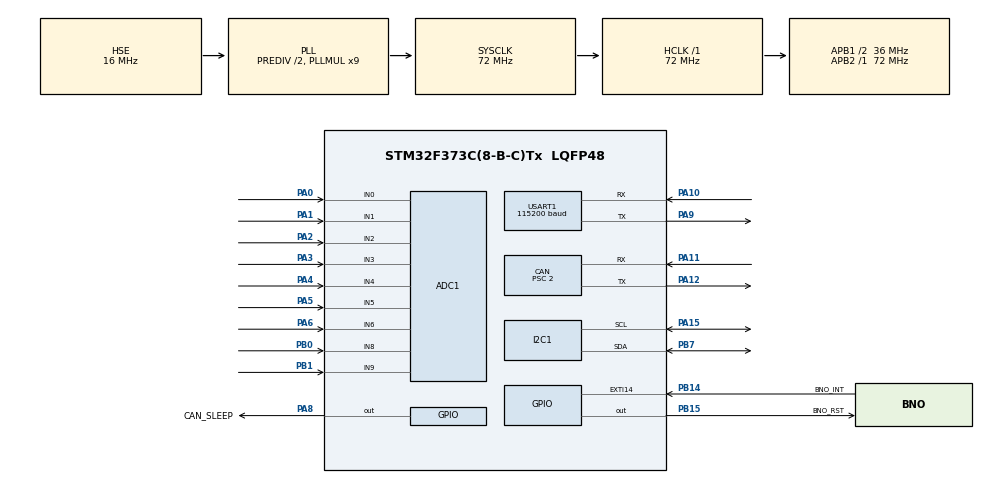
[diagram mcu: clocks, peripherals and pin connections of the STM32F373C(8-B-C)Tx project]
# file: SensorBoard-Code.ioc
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ADC1.Channel-0\#ChannelRegularConversion=ADC_CHANNEL_0
ADC1.Channel-1\#ChannelRegularConversion=ADC_CHANNEL_1
ADC1.Channel-2\#ChannelRegularConversion=ADC_CHANNEL_2
ADC1.Channel-3\#ChannelRegularConversion=ADC_CHANNEL_3
ADC1.Channel-4\#ChannelRegularConversion=ADC_CHANNEL_4
ADC1.Channel-5\#ChannelRegularConversion=ADC_CHANNEL_5
ADC1.Channel-6\#ChannelRegularConversion=ADC_CHANNEL_6
ADC1.Channel-7\#ChannelRegularConversion=ADC_CHANNEL_8
ADC1.ContinuousConvMode=ENABLE
ADC1.NbrOfConversion=8
ADC1.NbrOfConversionFlag=1
ADC1.Rank-0\#ChannelRegularConversion=1
ADC1.Rank-1\#ChannelRegularConversion=2
ADC1.Rank-2\#ChannelRegularConversion=3
ADC1.Rank-3\#ChannelRegularConversion=4
ADC1.Rank-4\#ChannelRegularConversion=5
ADC1.Rank-5\#ChannelRegularConversion=6
ADC1.Rank-6\#ChannelRegularConversion=7
ADC1.Rank-7\#ChannelRegularConversion=8
ADC1.SamplingTime-0\#ChannelRegularConversion=ADC_SAMPLETIME_1CYCLE_5
ADC1.SamplingTime-1\#ChannelRegularConversion=ADC_SAMPLETIME_1CYCLE_5
ADC1.SamplingTime-2\#ChannelRegularConversion=ADC_SAMPLETIME_1CYCLE_5
ADC1.SamplingTime-3\#ChannelRegularConversion=ADC_SAMPLETIME_1CYCLE_5
ADC1.SamplingTime-4\#ChannelRegularConversion=ADC_SAMPLETIME_1CYCLE_5
ADC1.SamplingTime-5\#ChannelRegularConversion=ADC_SAMPLETIME_1CYCLE_5
ADC1.SamplingTime-6\#ChannelRegularConversion=ADC_SAMPLETIME_1CYCLE_5
ADC1.SamplingTime-7\#ChannelRegularConversion=ADC_SAMPLETIME_1CYCLE_5
ADC1.master=1
CAN.ABOM=DISABLE
CAN.AWUM=ENABLE
CAN.BS1=CAN_BS1_15TQ
CAN.BS2=CAN_BS2_2TQ
CAN.CalculateBaudRate=1000000
CAN.CalculateTimeBit=1000
CAN.CalculateTimeQuantum=55.55555555555556
CAN.Mode=CAN_MODE_NORMAL
CAN.NART=ENABLE
CAN.Prescaler=2
Dma.ADC1.0.Direction=DMA_PERIPH_TO_MEMORY
Dma.ADC1.0.Instance=DMA1_Channel1
Dma.ADC1.0.MemDataAlignment=DMA_MDATAALIGN_HALFWORD
Dma.ADC1.0.MemInc=DMA_MINC_ENABLE
Dma.ADC1.0.Mode=DMA_CIRCULAR
Dma.ADC1.0.PeriphDataAlignment=DMA_PDATAALIGN_HALFWORD
Dma.ADC1.0.PeriphInc=DMA_PINC_DISABLE
Dma.ADC1.0.Priority=DMA_PRIORITY_LOW
Dma.Request0=ADC1
Mcu.Family=STM32F3
Mcu.Name=STM32F373C(8-B-C)Tx
Mcu.Package=LQFP48
NVIC.CAN_RX0_IRQn=true\:0\:0\:false\:false\:true\:true\:true\:true
NVIC.DMA1_Channel1_IRQn=true\:0\:0\:false\:false\:true\:false\:true\:true
NVIC.EXTI15_10_IRQn=true\:0\:0\:false\:false\:true\:true\:true\:true
NVIC.PriorityGroup=NVIC_PRIORITYGROUP_4
PA0.Mode=IN0
PA0.Signal=ADC1_IN0
PA1.Mode=IN1
PA1.Signal=ADC1_IN1
PA10.Mode=Asynchronous
PA10.Signal=USART1_RX
PA11.Mode=CAN_Activate
PA11.Signal=CAN_RX
PA12.Mode=CAN_Activate
PA12.Signal=CAN_TX
PA13.Mode=Serial_Wire
PA13.Signal=SYS_JTMS-SWDIO
PA14.Mode=Serial_Wire
PA14.Signal=SYS_JTCK-SWCLK
PA15.Mode=I2C
PA15.Signal=I2C1_SCL
PA2.Mode=IN2
PA2.Signal=ADC1_IN2
PA3.Mode=IN3
PA3.Signal=ADC1_IN3
PA4.Mode=IN4
PA4.Signal=ADC1_IN4
PA5.Mode=IN5
PA5.Signal=ADC1_IN5
PA6.Mode=IN6
PA6.Signal=ADC1_IN6
PA8.GPIO_Label=CAN_SLEEP
PA8.GPIO_PuPd=GPIO_PULLDOWN
PA8.Signal=GPIO_Output
PA9.Mode=Asynchronous
PA9.Signal=USART1_TX
PB0.Mode=IN8
PB0.Signal=ADC1_IN8
PB1.Mode=IN9
PB1.Signal=ADC1_IN9
PB14.GPIO_Label=BNO_INT
PB14.GPIO_ModeDefaultEXTI=GPIO_MODE_IT_FALLING
PB14.GPIO_PuPd=GPIO_PULLUP
PB14.Signal=GPXTI14
PB15.GPIO_Label=BNO_RST
PB15.Signal=GPIO_Output
PB7.Mode=I2C
PB7.Signal=I2C1_SDA
PF0-OSC_IN.Mode=HSE-External-Oscillator
PF0-OSC_IN.Signal=RCC_OSC_IN
PF1-OSC_OUT.Mode=HSE-External-Oscillator
PF1-OSC_OUT.Signal=RCC_OSC_OUT
ProjectManager.HeapSize=0x200
ProjectManager.StackSize=0x400
ProjectManager.TargetToolchain=CMake
RCC.AHBFreq_Value=72000000
RCC.APB1CLKDivider=RCC_HCLK_DIV2
RCC.APB1Freq_Value=36000000
RCC.APB1TimFreq_Value=72000000
RCC.APB2Freq_Value=72000000
RCC.APB2TimFreq_Value=72000000
RCC.CortexFreq_Value=72000000
RCC.HCLKFreq_Value=72000000
RCC.HSE_VALUE=16000000
RCC.HSI_VALUE=8000000
RCC.LSE_VALUE=32768
RCC.PLLMUL=RCC_PLL_MUL9
RCC.PLLSourceVirtual=RCC_PLLSOURCE_HSE
RCC.RCC_PLLsource_Clock_Source_FROM_HSE=RCC_HSE_PREDIV_DIV2
RCC.SYSCLKFreq_VALUE=72000000
RCC.SYSCLKSource=RCC_SYSCLKSOURCE_PLLCLK
RCC.USBFreq_Value=72000000
USART1.BaudRate=115200
USART1.VirtualMode-Asynchronous=VM_ASYNC
VP_TIM2_VS_ClockSourceINT.Mode=Internal
board=custom

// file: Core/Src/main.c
/* USER CODE BEGIN Header */
/**
 ******************************************************************************
 * @file           : main.c
 * @brief          : Main program body
 ******************************************************************************
 * @attention
 *
 * Copyright (c) 2024 STMicroelectronics.
 * All rights reserved.
 *
 * This software is licensed under terms that can be found in the LICENSE file
 * in the root directory of this software component.
 * If no LICENSE file comes with this software, it is provided AS-IS.
 *
 ******************************************************************************
 */
/* USER CODE END Header */
#include "main.h"
#include "adc.h"
#include "can.h"
#include "dma.h"
#include "gpio.h"
#include "i2c.h"
#include "tim.h"
#include "usart.h"

/* USER CODE BEGIN Includes */
#include "AS5600.h"
#include "BNO_08X_I2C.h"
#include <stdbool.h>
#include <stdint.h>
#include <stdio.h>
#include <string.h>

/* USER CODE END Includes */

/* USER CODE BEGIN PTD */
typedef struct {
  uint16_t adc_pin;
  uint32_t sample_rate_ms;
  uint32_t last_sample_time;
} ADC_Sample_Config_t;

typedef struct {
  uint8_t sensor_id;
  uint32_t sample_rate_ms;
} IMU_Sample_Config_t;
/* USER CODE END PTD */

/* USER CODE BEGIN PD */
PUTCHAR_PROTOTYPE {
  HAL_UART_Transmit(&huart1, (uint8_t *)&ch, 1, HAL_MAX_DELAY);
  return ch;
}

#define NUM_ADC_CHANNELS 8
#define AVG_PER_CHANNEL 4
#define ADC_BIT_RESOLUTION 12

// Use fixed-point scaling for IMU data (3 decimal places of precision)
#define IMU_DATA_SCALE_FACTOR 1000.0f

#define SAMPLE_PERIOD_100HZ_MS 10
#define SAMPLE_PERIOD_50HZ_MS 20
#define SAMPLE_PERIOD_5HZ_MS 200

#define CAN_ID 0x400
#define CAN_ID_SECONDARY 0x401
#define CAN_FRAME_SIZE 8
#define NUM_CAN_SIGNALS 5
#define NUM_CAN_SIGNALS_SECONDARY 1

/* USER CODE END PD */

/* USER CODE BEGIN PM */
#define ADC_PIN_VALID(pin) ((pin) >= 0 && (pin) < NUM_ADC_CHANNELS)
/* USER CODE END PM */

/* USER CODE BEGIN PV */

static __attribute__((
    aligned(4))) uint16_t ADC_DMA_BUFF[NUM_ADC_CHANNELS * AVG_PER_CHANNEL];

/*
ADC + IMU CAN FRAME DEFINITION
MUX'd ADC Data Frame for 8 Channels (12 bits each) + IMU Accelerometer and
Gyroscope Data (16 bits each)

Bits 0-3: Mux Nibble

Mux 0:
  Bits 4-15: ADC Channel 1 (12 bits)
  Bits 16-27: ADC Channel 2 (12 bits)
  Bits 28-39: ADC Channel 3 (12 bits)
  Bits 40-51: ADC Channel 4 (12 bits)
  Bits 52-63: ADC Channel 5 (12 bits)

Mux 1:
  Bits 4-15: ADC Channel 6 (12 bits)
  Bits 16-27: ADC Channel 7 (12 bits)
  Bits 28-39: ADC Channel 8 (12 bits)

Mux 2:
  Bits 4-19: Accelerometer X (16 bits)
  Bits 20-35: Accelerometer Y (16 bits)
  Bits 36-51: Accelerometer Z (16 bits)

Mux 3:
  Bits 4-19: Gyroscope X (16 bits)
  Bits 20-35: Gyroscope Y (16 bits)
  Bits 36-51: Gyroscope Z (16 bits)
*/
CAN_TxHeaderTypeDef TxHeader;
uint8_t TxData[CAN_FRAME_SIZE] = {0};
uint8_t MsgBuffers[NUM_CAN_SIGNALS][CAN_FRAME_SIZE] = {{0}};
bool msgPending[NUM_CAN_SIGNALS] = {false};

/*
 * Secondary CAN Frame for additional data
 * Currently needs to be used for the rotation vector
 *
 * Bits 0-15: Rotation Vector I (16 bits)
 * Bits 16-31: Rotation Vector J (16 bits)
 * Bits 32-47: Rotation Vector K (16 bits)
 * Bits 48-63: Rotation Vector R (16 bits)
 */
CAN_TxHeaderTypeDef TxHeaderSecondary;
uint8_t TxDataSecondary[CAN_FRAME_SIZE] = {0};
uint8_t MsgBuffersSecondary[NUM_CAN_SIGNALS_SECONDARY][CAN_FRAME_SIZE] = {{0}};
bool msgPendingSecondary[NUM_CAN_SIGNALS_SECONDARY] = {false};

uint32_t TxMailbox;
uint16_t last_adc_values[NUM_ADC_CHANNELS] = {0};
volatile uint8_t BNO_Ready = 0;

/*
 * ADC Channel Configuration
 * ADCs are named weirdly on the board, so I'm using 0-7 for clarity
 * ADC 0 = Channel 0, ADC 1 = Channel 1, etc.
 */
ADC_Sample_Config_t adc_configs[] = {
    {0, SAMPLE_PERIOD_100HZ_MS, 0}, {1, SAMPLE_PERIOD_100HZ_MS, 0},
    {2, SAMPLE_PERIOD_100HZ_MS, 0}, {3, SAMPLE_PERIOD_100HZ_MS, 0},
    {4, SAMPLE_PERIOD_100HZ_MS, 0}, {5, SAMPLE_PERIOD_100HZ_MS, 0},
    {6, SAMPLE_PERIOD_100HZ_MS, 0}, {7, SAMPLE_PERIOD_100HZ_MS, 0}};

/**
 * IMU Channel Configuration
 */
IMU_Sample_Config_t imu_configs[] = {
    {ACCELEROMETER, SAMPLE_PERIOD_50HZ_MS},
    {GYROSCOPE_CALIBRATED, SAMPLE_PERIOD_50HZ_MS},
    {ROTATION_VECTOR, SAMPLE_PERIOD_50HZ_MS}};
/* USER CODE END PV */

void SystemClock_Config(void);

/* USER CODE BEGIN 0 */

/** INTERRUPT HANDLERS **/
void HAL_GPIO_EXTI_Callback(uint16_t GPIO_Pin) {
  if (GPIO_Pin == BNO_INT_Pin) {
    BNO_Ready = 1;
  }
}

/** ADC HANDLING **/

/**
 * @brief Averages an ADC channel over the DMA buffer, achieves better
 * resolution
 * @param ADC_PIN - ADC channel pin
 * @retval uint16_t - averaged ADC DMA value on success, -1 if invalid pin
 */
uint16_t ADC_DMA_AVG(uint16_t ADC_Pin) {
  assert_param(ADC_PIN_VALID(ADC_Pin));

  int channel;
  int i;
  uint32_t adc_sum;

  channel = ADC_Pin;

  adc_sum = 0;
  for (i = 0; i < AVG_PER_CHANNEL; i++) {
    adc_sum += ADC_DMA_BUFF[(i * NUM_ADC_CHANNELS) + channel];
  }

  return adc_sum / AVG_PER_CHANNEL;
}

/**
 * @brief Helper function to pack a 12-bit ADC value into the CAN buffer
 * @param buffer - Pointer to buffer (Mux0 or Mux1)
 * @param adc_value - 12-bit ADC value to pack
 * @param channel_index - Channel index (0-7, relative to start of frame)
 */
static void PackADCValue(uint8_t *buffer, uint16_t adc_value,
                         uint8_t channel_index) {
  // Only use 12 bits of ADC value
  adc_value &= 0x0FFF;

  // Calculate bit position (4 bits for mux nibble + 12 bits per channel)
  uint8_t bit_position = 4 + (channel_index * ADC_BIT_RESOLUTION);
  uint8_t byte_index = bit_position / 8;
  uint8_t bit_offset = bit_position % 8;
  uint8_t bits_in_first_byte = 8 - bit_offset;

  // Clear bits and set new value in first byte
  buffer[byte_index] &= ~(0xFF << bit_offset);
  buffer[byte_index] |= (adc_value << bit_offset);

  // Clear bits and set new value in second byte
  buffer[byte_index + 1] &= ~(0xFF >> bits_in_first_byte);
  buffer[byte_index + 1] |= (adc_value >> bits_in_first_byte);
}

/**
 * @brief Sends pending CAN messages
 * @retval bool - true if no pending messages
 */
/**
 * @brief Packages ADC values into CAN packet
 * @param ADC_PIN - ADC channel pin
 * @retval bool - true on success
 */
bool ADC_CAN_Package(uint16_t ADC_Pin) {
  assert_param(ADC_PIN_VALID(ADC_Pin));

  uint16_t adc_val;
  uint8_t mux_val;
  uint8_t channel;
  uint8_t *MuxBuffer;

  channel = ADC_Pin;

  // Sample channel and store value
  adc_val = ADC_DMA_AVG(ADC_Pin);
  last_adc_values[channel] = adc_val;

  // Set mux value and select appropriate buffer
  mux_val = (channel < 6) ? 0 : 1;
  MuxBuffer = (mux_val == 0) ? MsgBuffers[0] : MsgBuffers[1];

  // Clear only the mux nibble in first byte
  MuxBuffer[0] &= 0xF0;

  // Set first nibble to mux value
  MuxBuffer[0] |= mux_val;

  if (mux_val == 0) {
    // Set all ADC values for mux 0
    for (int i = 0; i < 5; i++) {
      PackADCValue(MuxBuffer, last_adc_values[i], i);
    }
    msgPending[0] = true;
  } else {
    // Set all ADC values for mux 1
    for (int i = 5; i < NUM_ADC_CHANNELS; i++) {
      PackADCValue(MuxBuffer, last_adc_values[i], i - 5);
    }
    msgPending[1] = true;
  }

  return true;
}

void Wheel_CAN_Package(bool valid, uint16_t wheel_angle,
                       uint8_t *data_package) {
  data_package[0] = ((wheel_angle & 0x000F) << 4) | 4;
  data_package[1] = valid << 7 | ((wheel_angle & 0x7F0) >> 3);
}

/** IMU HANDLING **/

/**
 * @brief Packages Accelerometer and Gyroscope IMU values into 8-byte buffer
 * @param buffer - Pointer to buffer (expected 8 bytes)
 * @param x - X-axis value
 * @param y - Y-axis value
 * @param z - Z-axis value
 * @retval bool - true on success
 */
void IMU_PackAccelGyro(uint8_t *buffer, float x, float y, float z) {
  assert_param(buffer != NULL);

  // Convert to 16-bit integer
  int16_t x_int = (int16_t)(x * IMU_DATA_SCALE_FACTOR);
  int16_t y_int = (int16_t)(y * IMU_DATA_SCALE_FACTOR);
  int16_t z_int = (int16_t)(z * IMU_DATA_SCALE_FACTOR);

  // Clear buffer
  memset(buffer, 0, 6);

  // Pack into buffer, leaving first 4 bits for mux nibble
  buffer[0] |= (x_int & 0x000F) << 4; // Lower 4 bits
  buffer[1] = (x_int >> 4) & 0xFF;    // Middle 12 bits
  buffer[2] = (x_int >> 12) & 0x0F;   // Upper 4 bits

  buffer[2] |= (y_int & 0x000F) << 4;
  buffer[3] = (y_int >> 4) & 0xFF;
  buffer[4] = (y_int >> 12) & 0x0F;

  buffer[4] |= (z_int & 0x000F) << 4;
  buffer[5] = (z_int >> 4) & 0xFF;
  buffer[6] = (z_int >> 12) & 0x0F;
}

/**
 * @brief Packages Rotation Vector IMU values into 8-byte buffer
 * @param buffer - Pointer to buffer (expected 8 bytes)
 * @param i - I-axis value
 * @param j - J-axis value
 * @param k - K-axis value
 * @param r - R-axis value
 * @retval bool - true on success
 */
void IMU_PackRotationVector(uint8_t *buffer, float i, float j, float k,
                            float r) {
  assert_param(buffer != NULL);

  // Convert to 16-bit integer
  int16_t i_int = (int16_t)(i * IMU_DATA_SCALE_FACTOR);
  int16_t j_int = (int16_t)(j * IMU_DATA_SCALE_FACTOR);
  int16_t k_int = (int16_t)(k * IMU_DATA_SCALE_FACTOR);
  int16_t r_int = (int16_t)(r * IMU_DATA_SCALE_FACTOR);

  // Pack into buffer (little-endian)
  buffer[0] = i_int & 0xFF;
  buffer[1] = (i_int >> 8) & 0xFF;
  buffer[2] = j_int & 0xFF;
  buffer[3] = (j_int >> 8) & 0xFF;
  buffer[4] = k_int & 0xFF;
  buffer[5] = (k_int >> 8) & 0xFF;
  buffer[6] = r_int & 0xFF;
  buffer[7] = (r_int >> 8) & 0xFF;
}

/**
 * @brief Packages IMU values into CAN packet
 * @param sensor_id - Sensor ID (ACCELEROMETER, GYROSCOPE_CALIBRATED, etc.)
 * @param sensor_data - Pointer to sensor data
 * @retval bool - true on success
 */
bool IMU_CAN_Package(uint8_t sensor_id, BNO_SensorValue_t *sensor_data) {
  uint8_t *MuxBuffer;
  uint8_t mux_val;

  switch (sensor_id) {
  case ACCELEROMETER:
    mux_val = 2;
    MuxBuffer = MsgBuffers[2];
    IMU_PackAccelGyro(MuxBuffer, sensor_data->SenVal.Accelerometer.X,
                      sensor_data->SenVal.Accelerometer.Y,
                      sensor_data->SenVal.Accelerometer.Z);
    // Shift values down to make room for mux nibble
    MuxBuffer[0] &= 0xF0;    // Clear lower 4 bits
    MuxBuffer[0] |= mux_val; // Set mux value
    msgPending[2] = true;
    break;
  case GYROSCOPE_CALIBRATED:
    mux_val = 3;
    MuxBuffer = MsgBuffers[3];
    IMU_PackAccelGyro(MuxBuffer, sensor_data->SenVal.Gyroscope.X,
                      sensor_data->SenVal.Gyroscope.Y,
                      sensor_data->SenVal.Gyroscope.Z);
    // Shift values down to make room for mux nibble
    MuxBuffer[0] &= 0xF0;    // Clear lower 4 bits
    MuxBuffer[0] |= mux_val; // Set mux value
    msgPending[3] = true;
    break;
  case ROTATION_VECTOR:
    MuxBuffer = MsgBuffersSecondary[0];
    IMU_PackRotationVector(MuxBuffer, sensor_data->SenVal.RotationVector.I,
                           sensor_data->SenVal.RotationVector.J,
                           sensor_data->SenVal.RotationVector.K,
                           sensor_data->SenVal.RotationVector.Real);
    msgPendingSecondary[0] = true;
    break;
  default:
    return false;
  }

  return true;
}

/**
 * @brief Sets IMU reports for all sensors
 */
void setIMUReports(void) {
  for (unsigned int i = 0; i < sizeof(imu_configs) / sizeof(imu_configs[0]);
       i++) {
    if (BNO_setFeature(imu_configs[i].sensor_id,
                       imu_configs[i].sample_rate_ms * 1000, 0) == HAL_OK) {
      printf("Set report for sensor %d at %d Hz\r\n", imu_configs[i].sensor_id,
             1000 / imu_configs[i].sample_rate_ms);
    } else {
      printf("Failed to set report for sensor %d at %d Hz\r\n",
             imu_configs[i].sensor_id, 1000 / imu_configs[i].sample_rate_ms);
    }
  }
}

/** CAN HANDLING **/

/**
 * @brief Sends pending CAN messages
 * @retval bool - true if no pending messages
 */
bool SendPendingCANMessages(void) {
  bool status = true;
  // Primary CAN ID
  for (int i = 0; i < NUM_CAN_SIGNALS; i++) {
    if (msgPending[i]) {
      memcpy(TxData, MsgBuffers[i], 8);
      if (HAL_CAN_AddTxMessage(&hcan, &TxHeader, TxData, &TxMailbox) ==
          HAL_OK) {
        msgPending[i] = false;
      } else {
        status = false;
      }
    }

    HAL_Delay(1); // Delay to allow CAN peripheral to process messages
  }

  // Secondary CAN ID
  for (int i = 0; i < NUM_CAN_SIGNALS_SECONDARY; i++) {
    if (msgPendingSecondary[i]) {
      memcpy(TxDataSecondary, MsgBuffersSecondary[i], 8);
      if (HAL_CAN_AddTxMessage(&hcan, &TxHeaderSecondary, TxDataSecondary,
                               &TxMailbox) == HAL_OK) {
        msgPendingSecondary[i] = false;
      } else {
        status = false;
      }
    }

    HAL_Delay(1); // Delay to allow CAN peripheral to process messages
  }

  return status;
}
/* USER CODE END 0 */

int main(void) {

  /* USER CODE BEGIN 1 */
  // Initialize CAN header
  TxHeader.StdId = CAN_ID;
  TxHeader.IDE = CAN_ID_STD;
  TxHeader.RTR = CAN_RTR_DATA;
  TxHeader.DLC = 8;

  // Initialize secondary CAN header
  TxHeaderSecondary.StdId = CAN_ID_SECONDARY;
  TxHeaderSecondary.IDE = CAN_ID_STD;
  TxHeaderSecondary.RTR = CAN_RTR_DATA;
  TxHeaderSecondary.DLC = 8;
  /* USER CODE END 1 */

  /* MCU Configuration--------------------------------------------------------*/

  /* Reset of all peripherals, Initializes the Flash interface and the Systick.
   */
  HAL_Init();

  /* Configure the system clock */
  SystemClock_Config();

  /* Initialize all configured peripherals */
  MX_GPIO_Init();
  MX_DMA_Init();
  MX_ADC1_Init();
  MX_CAN_Init();
  MX_I2C1_Init();
  MX_TIM2_Init();
  MX_USART1_UART_Init();
  as5600_init(&hi2c1);
  /* USER CODE BEGIN 2 */

  if (HAL_CAN_Start(&hcan) != HAL_OK) {
    printf("Failed to start CAN peripheral\r\n");
    Error_Handler();
  }

  // Start ADC DMA
  if (HAL_ADC_Start_DMA(&hadc1, (uint32_t *)ADC_DMA_BUFF,
                        NUM_ADC_CHANNELS * AVG_PER_CHANNEL) != HAL_OK) {
    printf("Failed to start ADC DMA\r\n");
    Error_Handler();
  }

  // Initialize BNO085
  if (BNO_Init() != HAL_OK) {
    printf("Failed to initialize BNO085\r\n");
  } else {
    BNO_setHighAccuracyMode();
    setIMUReports();
    printf("BNO085 initialized successfully\r\n");
  }

  // Set feature reports for IMU

  /* USER CODE END 2 */

  /* Infinite loop */
  while (1) {

    /* USER CODE BEGIN 3 */
    uint32_t current_time = HAL_GetTick();

    // Check and sample each ADC channel based on its configured rate
    for (int i = 0; i < NUM_ADC_CHANNELS; i++) {
      if ((current_time - adc_configs[i].last_sample_time) >=
          adc_configs[i].sample_rate_ms) {
        // Sample this channel
        if (ADC_CAN_Package(adc_configs[i].adc_pin)) {
          adc_configs[i].last_sample_time = current_time;
        }
      }
    }

    if (BNO_Ready) {
      // Check if reset occurred and send new reports
      if (isResetOccurred()) {
        printf("BNO085 reset occurred!! Resending feature reports...\r\n");
        setIMUReports();
      }

      // Handle IMU data
      if (BNO_dataAvailable() == HAL_OK) {
        uint8_t sensorID = BNO_getSensorEventID();
        printf("Received data from sensor %d\r\n", sensorID);
        IMU_CAN_Package(sensorID, &sensorData);
      }
    }

    if (as5600_is_valid()) {
      uint16_t wheel_data = as5600_read_angle_deg();

      Wheel_CAN_Package(true, wheel_data, MsgBuffers[4]);
      msgPending[4] = true;
    } else {
      Wheel_CAN_Package(false, 0, MsgBuffers[4]);
      msgPending[4] = true;
    }

    // Send pending CAN messages
    if (!SendPendingCANMessages()) {
      printf("Failed to send pending CAN messages\r\n");
    }
  }
  /* USER CODE END 3 */
}

void SystemClock_Config(void) {
  RCC_OscInitTypeDef RCC_OscInitStruct = {0};
  RCC_ClkInitTypeDef RCC_ClkInitStruct = {0};
  RCC_PeriphCLKInitTypeDef PeriphClkInit = {0};

  /** Initializes the RCC Oscillators according to the specified parameters
   * in the RCC_OscInitTypeDef structure.
   */
  RCC_OscInitStruct.OscillatorType =
      RCC_OSCILLATORTYPE_HSI | RCC_OSCILLATORTYPE_HSE;
  RCC_OscInitStruct.HSEState = RCC_HSE_ON;
  RCC_OscInitStruct.HSEPredivValue = RCC_HSE_PREDIV_DIV2;
  RCC_OscInitStruct.HSIState = RCC_HSI_ON;
  RCC_OscInitStruct.HSICalibrationValue = RCC_HSICALIBRATION_DEFAULT;
  RCC_OscInitStruct.PLL.PLLState = RCC_PLL_ON;
  RCC_OscInitStruct.PLL.PLLSource = RCC_PLLSOURCE_HSE;
  RCC_OscInitStruct.PLL.PLLMUL = RCC_PLL_MUL9;
  if (HAL_RCC_OscConfig(&RCC_OscInitStruct) != HAL_OK) {
    Error_Handler();
  }

  /** Initializes the CPU, AHB and APB buses clocks
   */
  RCC_ClkInitStruct.ClockType = RCC_CLOCKTYPE_HCLK | RCC_CLOCKTYPE_SYSCLK |
                                RCC_CLOCKTYPE_PCLK1 | RCC_CLOCKTYPE_PCLK2;
  RCC_ClkInitStruct.SYSCLKSource = RCC_SYSCLKSOURCE_PLLCLK;
  RCC_ClkInitStruct.AHBCLKDivider = RCC_SYSCLK_DIV1;
  RCC_ClkInitStruct.APB1CLKDivider = RCC_HCLK_DIV2;
  RCC_ClkInitStruct.APB2CLKDivider = RCC_HCLK_DIV1;

  if (HAL_RCC_ClockConfig(&RCC_ClkInitStruct, FLASH_LATENCY_2) != HAL_OK) {
    Error_Handler();
  }
  PeriphClkInit.PeriphClockSelection =
      RCC_PERIPHCLK_USART1 | RCC_PERIPHCLK_I2C1 | RCC_PERIPHCLK_ADC1;
  PeriphClkInit.Usart1ClockSelection = RCC_USART1CLKSOURCE_PCLK2;
  PeriphClkInit.I2c1ClockSelection = RCC_I2C1CLKSOURCE_HSI;
  PeriphClkInit.Adc1ClockSelection = RCC_ADC1PCLK2_DIV2;

  if (HAL_RCCEx_PeriphCLKConfig(&PeriphClkInit) != HAL_OK) {
    Error_Handler();
  }
}

void Error_Handler(void) {
  /* USER CODE BEGIN Error_Handler_Debug */
  /* User can add his own implementation to report the HAL error return state */
  __disable_irq();
  while (1) {
    printf("Error occurred!\r\n");
    HAL_Delay(1000);
  }
  /* USER CODE END Error_Handler_Debug */
}

#ifdef USE_FULL_ASSERT
/**
 * @brief  Reports the name of the source file and the source line number
 *         where the assert_param error has occurred.
 * @param  file: pointer to the source file name
 * @param  line: assert_param error line source number
 * @retval None
 */
void assert_failed(uint8_t *file, uint32_t line) {
  /* USER CODE BEGIN 6 */
  printf("ASSERT FAILED: %s:%d\r\n", file, line);
  Error_Handler();
  /* User can add his own implementation to report the file name and line
     number, ex: printf("Wrong parameters value: file %s on line %d\r\n", file,
     line) */
  /* USER CODE END 6 */
}
#endif /* USE_FULL_ASSERT */
